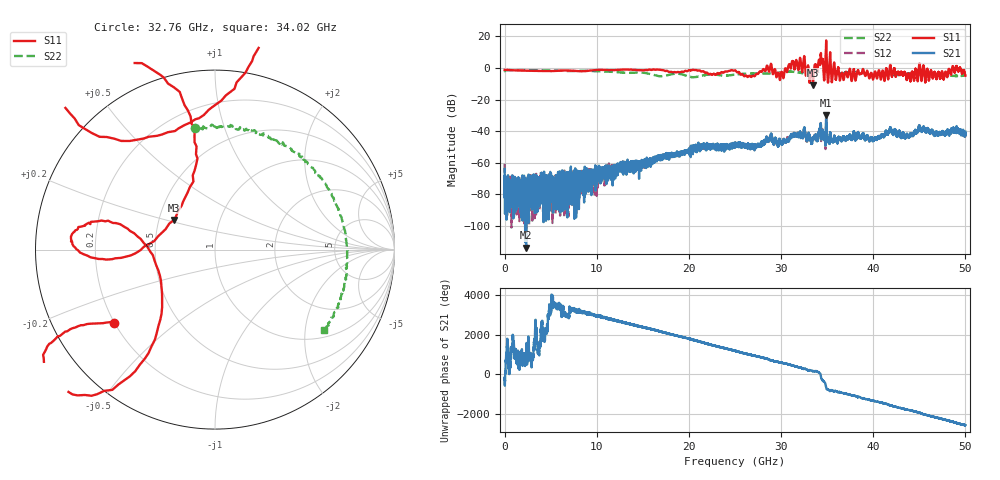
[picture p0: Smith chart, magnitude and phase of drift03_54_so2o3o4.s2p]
!Created with skrf (http://scikit-rf.org).
# Hz S RI R 50.0
!freq ReS11 ImS11 ReS21 ImS21 ReS12 ImS12 ReS22 ImS22
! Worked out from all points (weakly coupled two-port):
!   10001 points, 300 kHz to 50 GHz, reference 50 ohm
!   highest |S21| = -29.79 dB at 34.89 GHz (marker M1); lowest = -113.7 dB at 2.335 GHz (marker M2)
!   lowest |S11| = -11.0 dB at 33.47 GHz (marker M3), VSWR 1.79, Z = 29.9 + j10.7 ohm
!   |S11| at or under -10 dB: 33.44791 GHz to 33.48373 GHz (35.81 MHz wide, 0.107 % of centre)
!   |S22| runs from -5.9 to -1.3 dB; largest |S21 - S12| = 0.0075
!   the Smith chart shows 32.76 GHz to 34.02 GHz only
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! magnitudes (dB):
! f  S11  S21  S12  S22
! 300 kHz  -1.3  -63.9  -60.6  -2.0
! 315.3 MHz  -1.3  -71.8  -76.7  -1.4
! 2.335 GHz  -1.8  -113.7  -78.3  -1.3
! 8.335 GHz  -2.2  -67.5  -75.3  -1.9
! 16.67 GHz  -1.1  -56.0  -56.5  -5.2
! 25 GHz  -1.5  -49.1  -48.4  -4.2
! 26.92 GHz  -4.9  -49.1  -49.1  -3.6
! 28.73 GHz  -2.2  -45.4  -45.7  -3.5
! 30.06 GHz  -2.5  -47.6  -47.9  -2.8
! 31.87 GHz  -1.4  -42.6  -42.2  -2.9
! 33.34 GHz  -2.1  -47.8  -47.3  -2.9
! 33.47 GHz  -11.0  -44.0  -44.9  -2.8
! 34.3 GHz  7.5  -35.8  -34.9  -2.3
! 34.89 GHz  16.5  -29.8  -31.8  -2.4
! 36.58 GHz  -3.3  -46.2  -46.1  -3.6
! 40.15 GHz  -2.9  -44.7  -44.5  -3.7
! 41.67 GHz  -5.5  -39.8  -40.8  -3.7
! 43.84 GHz  -3.6  -43.6  -44.3  -3.9
! 45.17 GHz  -4.5  -39.7  -39.0  -4.5
! 47.07 GHz  -2.8  -41.2  -42.1  -5.0
! 49.21 GHz  -2.0  -41.0  -40.0  -5.2
! 50 GHz  -4.9  -40.4  -41.7  -5.0
